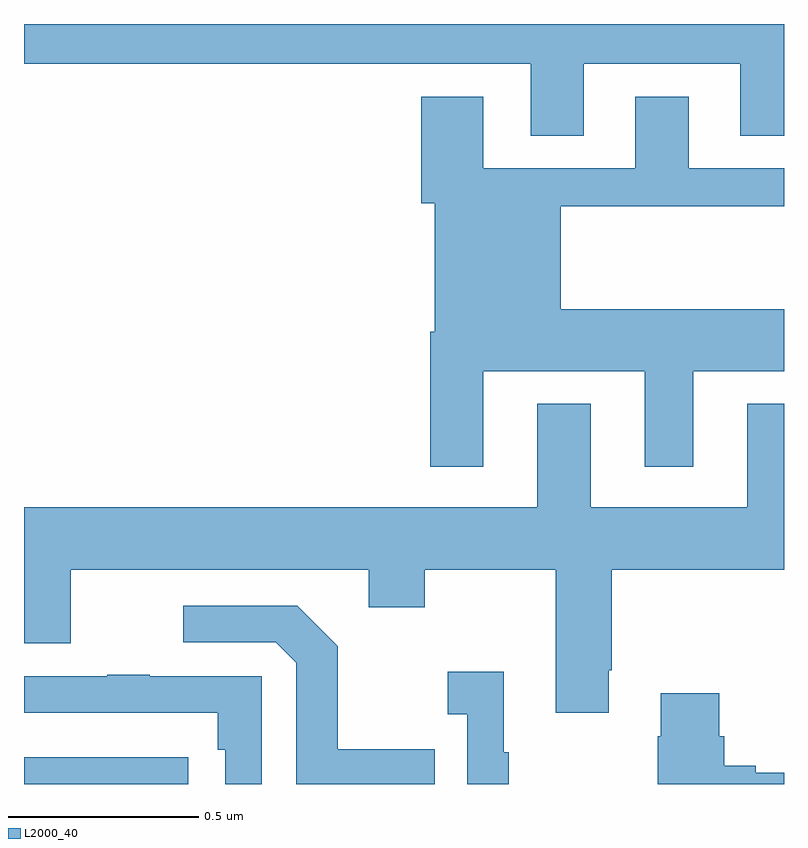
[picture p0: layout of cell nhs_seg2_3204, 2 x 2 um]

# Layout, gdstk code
import gdstk
lib = gdstk.Library(unit=1e-6, precision=1e-09)
def R(c, l, rs):  # rectangles x0, y0, x1, y1
    for r in rs: c.add(gdstk.rectangle(r[:2], r[2:], *l))
def P(c, l, *ps):  # polygons
    for p in ps: c.add(gdstk.Polygon(p, *l))
L2000_40 = (2000, 40)

nhs_seg2_3204 = lib.new_cell('nhs_seg2_3204')
R(nhs_seg2_3204, L2000_40, [(151,585.8,151.432,585.87)])
P(nhs_seg2_3204, L2000_40, [(152.473,587.696),(152.885,587.696),(152.885,587.506),(153,587.506),(153,587.8),(151,587.8),(151,587.696),(152.333,587.696),(152.333,587.506),(152.473,587.506)],
  [(152.209,586.886),(152.633,586.886),(152.633,586.635),(152.761,586.635),(152.761,586.886),(153,586.886),(153,587.05),(152.413,587.05),(152.413,587.32),(153,587.32),(153,587.421),(152.749,587.421),(152.749,587.608),(152.609,587.608),(152.609,587.421),(152.209,587.421),(152.209,587.608),(152.045,587.608),(152.045,587.328),(152.081,587.328),(152.081,586.99),(152.069,586.99),(152.069,586.635),(152.209,586.635)],
  [(152.539,586.099),(152.547,586.099),(152.547,586.364),(153,586.364),(153,586.801),(152.903,586.801),(152.903,586.528),(152.491,586.528),(152.491,586.801),(152.351,586.801),(152.351,586.528),(151,586.528),(151,586.17),(151.123,586.17),(151.123,586.364),(151.907,586.364),(151.907,586.265),(152.055,586.265),(152.055,586.364),(152.399,586.364),(152.399,585.987),(152.539,585.987)],
  [(152.081,585.891),(151.825,585.891),(151.825,586.163),(151.719,586.269),(151.419,586.269),(151.419,586.173),(151.662,586.173),(151.716,586.119),(151.716,585.8),(152.081,585.8)],
  [(152.275,585.883),(152.263,585.883),(152.263,586.096),(152.115,586.096),(152.115,585.983),(152.166,585.983),(152.166,585.8),(152.275,585.8)],
  [(151.626,586.083),(151.331,586.083),(151.331,586.088),(151.219,586.088),(151.219,586.083),(151,586.083),(151,585.987),(151.51,585.987),(151.51,585.89),(151.53,585.89),(151.53,585.8),(151.626,585.8)],
  [(153,585.829),(152.926,585.829),(152.926,585.848),(152.843,585.848),(152.843,585.926),(152.83,585.926),(152.83,586.039),(152.675,586.039),(152.675,585.926),(152.668,585.926),(152.668,585.8),(153,585.8)])

lib.write_gds('nhs_seg2_3204.gds')
